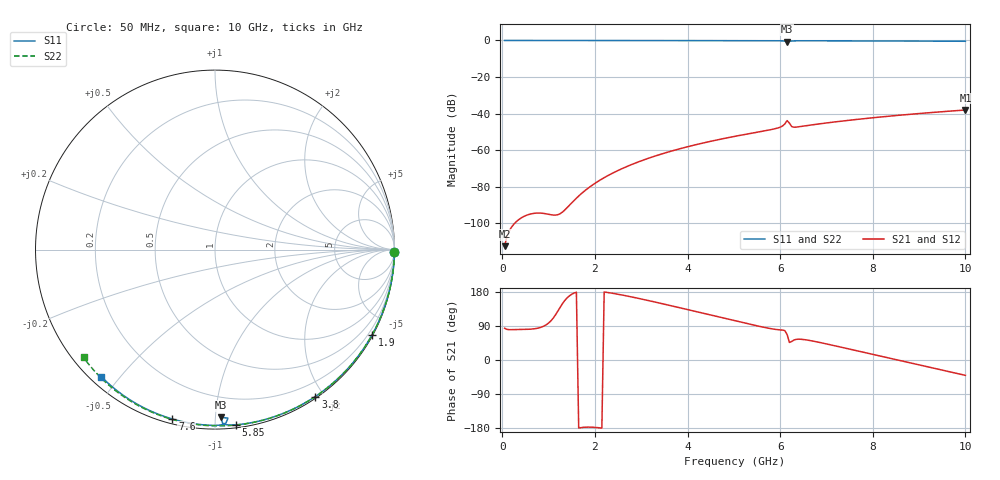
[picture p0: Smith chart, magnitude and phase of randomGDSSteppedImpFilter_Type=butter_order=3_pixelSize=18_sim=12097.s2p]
! freq	dB(S11)	phase(S11)	dB(S12)	phase(S12)
!  dB(S21)	phase(S21)	dB(S22)	phase(S22)
!S-par simulation data
#  GHz  S  DB  R 50
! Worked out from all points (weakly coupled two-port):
!   200 points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, 50 MHz to 10 GHz, reference 50 ohm
!   highest |S21| = -38.09 dB at 10 GHz (marker M1); lowest = -112.6 dB at 50 MHz (marker M2)
!   lowest |S11| = -0.6 dB at 6.15 GHz (marker M3), VSWR 29.89, Z = 3.46 - j51.6 ohm
!   |S11| at or under -10 dB: nowhere
!   |S22| runs from -0.5 to 0.0 dB; largest |S21 - S12| = 0
!   S11 on the Smith chart (normalised r, x): 50 MHz: open; 1.9 GHz: 0.03, -3.93; 3.8 GHz: 0.02, -1.89; 5.85 GHz: 0.02, -1.13; 7.6 GHz: 0.02, -0.78; 10 GHz: 0.03, -0.45
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0.05  -0.00 -0.8  -112.63 83.8  -112.63 83.8  -0.00 -0.8
0.9  -0.02 -13.6  -94.71 89.6  -94.71 89.6  -0.02 -14.6
1.75  -0.03 -26.3  -82.95 -177.7  -82.95 -177.7  -0.04 -28.1
1.9  -0.04 -28.5  -80.00 -177.2  -80.00 -177.2  -0.04 -30.4
2.2  -0.04 -32.9  -75.13 179.5  -75.13 179.5  -0.04 -35.1
2.55  -0.05 -38.0  -70.58 172.3  -70.58 172.3  -0.05 -40.5
2.95  -0.06 -43.7  -66.38 162.4  -66.38 162.4  -0.06 -46.6
3.4  -0.07 -50.1  -62.47 150.1  -62.47 150.1  -0.07 -53.4
3.8  -0.08 -55.7  -59.52 138.8  -59.52 138.8  -0.08 -59.3
4.4  -0.09 -63.9  -55.77 121.4  -55.77 121.4  -0.10 -67.9
5.05  -0.11 -72.6  -52.36 102.7  -52.36 102.7  -0.12 -77.1
5.85  -0.15 -83.2  -48.56 81.6  -48.56 81.6  -0.15 -88.0
6.05  -0.20 -86.4  -46.85 79.0  -46.85 79.0  -0.16 -90.7
6.1  -0.29 -87.5  -45.73 77.7  -45.73 77.7  -0.16 -91.4
6.15  -0.58 -88.0  -43.89 67.3  -43.89 67.3  -0.16 -92.0
6.2  -0.52 -85.6  -45.28 46.4  -45.28 46.4  -0.17 -92.7
6.25  -0.28 -86.4  -47.17 48.9  -47.17 48.9  -0.17 -93.4
6.3  -0.22 -87.4  -47.50 52.8  -47.50 52.8  -0.17 -94.0
6.7  -0.19 -93.1  -46.17 50.1  -46.17 50.1  -0.19 -99.3
7.6  -0.24 -104.1  -43.39 25.9  -43.39 25.9  -0.25 -110.8
8.35  -0.29 -113.0  -41.46 4.9  -41.46 4.9  -0.31 -120.2
10  -0.45 -131.9  -38.09 -40.5  -38.09 -40.5  -0.47 -140.6
